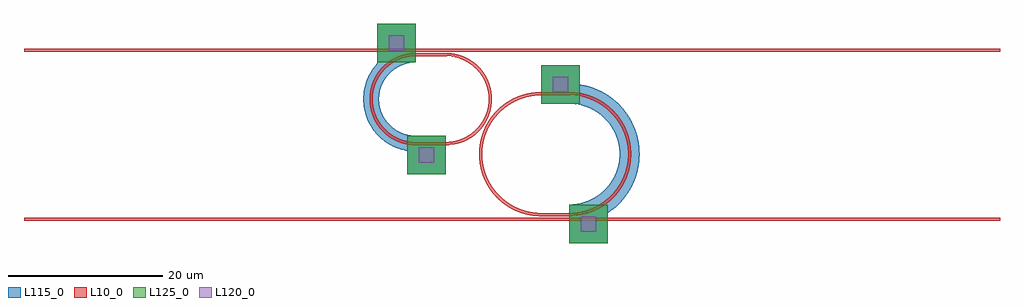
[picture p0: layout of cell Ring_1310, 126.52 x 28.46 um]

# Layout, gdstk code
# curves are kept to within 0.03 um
from math import pi, radians
import gdstk
lib = gdstk.Library(unit=1e-6, precision=1e-09)
def R(c, l, rs):  # rectangles x0, y0, x1, y1
    for r in rs: c.add(gdstk.rectangle(r[:2], r[2:], *l))
def P(c, l, *ps):  # polygons
    for p in ps: c.add(gdstk.Polygon(p, *l))
L10_0 = (10, 0)
L115_0 = (115, 0)
L120_0 = (120, 0)
L125_0 = (125, 0)

unnamed_7 = lib.new_cell('Unnamed_7')
P(unnamed_7, L115_0, [(5.595,-13.31),(5.018,-13.278),(4.353,-13.17),(3.506,-12.931),(3.028,-12.744),(2.37,-12.403),(1.821,-12.042),(1.337,-11.675),(0.874,-11.239),(0.164,-10.355),(-0.245,-9.671),(-0.538,-9.031),(-0.917,-7.665),(-0.989,-7.04),(-1,-6.363),(-0.965,-5.76),(-0.862,-5.132),(-0.46,-3.858),(-0.222,-3.366),(0.185,-2.694),(0.607,-2.14),(1.048,-1.666),(1.529,-1.249),(2.071,-0.869),(2.611,-0.54),(3.183,-0.27),(4.507,0.122),(5.1,0.206),(5.77,0.23),(5.77,-1.771),(4.808,-1.876),(3.958,-2.134),(3.123,-2.572),(2.425,-3.154),(1.832,-3.849),(1.408,-4.624),(1.121,-5.503),(1.002,-6.504),(1.049,-7.168),(1.196,-7.882),(1.408,-8.456),(1.653,-8.94),(1.918,-9.35),(2.425,-9.926),(3.012,-10.43),(3.402,-10.676),(4.357,-11.096),(5.385,-11.288),(9.675,-11.309),(9.675,-13.31)])

bend_circular_gdsfactory = lib.new_cell('bend_circular_gdsfactorypcomponentspbendspbend_circular_1a474e33')
P(bend_circular_gdsfactory, L10_0, [(2.98,0.608),(2.98,1.053),(3.512,1.433),(4.012,1.891),(4.439,2.388),(4.808,2.937),(5.132,3.578),(5.376,4.273),(5.525,4.985),(5.579,5.695),(5.96,5.696),(5.898,4.909),(5.737,4.153),(5.476,3.416),(5.143,2.757),(4.714,2.122),(4.163,1.504),(3.585,1.008)],
  [(5.58,5.696),(5.551,6.343),(5.446,6.988),(5.272,7.6),(5.017,8.214),(4.627,8.89),(4.15,9.501),(3.593,10.04),(2.98,10.487),(2.98,10.932),(3.719,10.428),(4.353,9.842),(4.911,9.148),(5.35,8.398),(5.737,7.387),(5.938,6.287),(5.96,5.696)],
  [(2.979,10.488),(2.288,10.86),(1.543,11.133),(0.771,11.297),(0,11.35),(0,11.73),(1.132,11.622),(1.71,11.48),(2.295,11.271),(2.98,10.932)],
  [(0,-0.19),(0,0.19),(0.771,0.243),(1.543,0.407),(2.288,0.68),(2.98,1.052),(2.98,0.608),(2.295,0.269),(1.207,-0.067),(0.602,-0.16)])

unnamed_8 = lib.new_cell('Unnamed_8')
R(unnamed_8, L10_0, [(5.77,-12.5,9.675,-12.12), (5.77,-0.96,9.675,-0.58)])
unnamed_8.add(gdstk.Reference(bend_circular_gdsfactory, (5.77,-12.31), rotation=pi, x_reflection=True))
unnamed_8.add(gdstk.Reference(bend_circular_gdsfactory, (9.675,-12.31)))

unnamed_16 = lib.new_cell('Unnamed_16')
P(unnamed_16, L115_0, [(25.67,-22.79),(25.67,-20.225),(26.993,-20.091),(28.22,-19.709),(28.968,-19.332),(29.424,-19.042),(30.244,-18.354),(30.993,-17.493),(31.64,-16.373),(31.869,-15.783),(32.071,-15.073),(32.177,-14.406),(32.222,-13.716),(32.099,-12.407),(31.769,-11.28),(31.538,-10.756),(31.128,-10.053),(30.703,-9.479),(30.244,-8.992),(29.424,-8.304),(28.968,-8.014),(28.22,-7.637),(26.993,-7.255),(25.67,-7.121),(25.67,-4.556),(25.864,-4.556),(26.824,-4.624),(27.863,-4.818),(28.633,-5.04),(29.449,-5.37),(30.13,-5.71),(30.805,-6.133),(31.617,-6.752),(32.27,-7.367),(32.828,-8.024),(33.407,-8.834),(33.777,-9.482),(34.182,-10.381),(34.464,-11.238),(34.67,-12.197),(34.766,-12.978),(34.787,-13.869),(34.727,-14.764),(34.574,-15.64),(34.374,-16.418),(34.102,-17.161),(33.702,-18.007),(33.253,-18.742),(32.57,-19.645),(32.054,-20.198),(31.461,-20.722),(30.596,-21.354),(29.89,-21.765),(29.03,-22.158),(28.127,-22.461),(27.262,-22.652),(26.488,-22.759)])

c_bend_circular_gdsfactory = lib.new_cell('bend_circular_gdsfactorypcomponentspbendspbend_circular_3701bcca')
P(c_bend_circular_gdsfactory, L10_0, [(0,-0.19),(0,0.19),(0.968,0.251),(1.941,0.44),(2.876,0.751),(3.778,1.188),(4.588,1.719),(5.288,2.313),(5.943,3.025),(6.48,3.779),(6.924,3.779),(6.344,2.92),(5.669,2.154),(4.87,1.456),(3.982,0.867),(3.039,0.407),(2.051,0.076),(1.031,-0.124)],
  [(6.48,3.779),(6.984,4.724),(7.335,5.678),(7.562,6.708),(7.644,7.747),(8.025,7.748),(7.984,7.02),(7.877,6.298),(7.715,5.624),(7.481,4.929),(6.926,3.781)],
  [(7.645,7.748),(7.581,8.826),(7.367,9.88),(7.013,10.88),(6.534,11.804),(6.977,11.801),(7.409,10.92),(7.748,9.927),(7.96,8.858),(8.025,7.748)],
  [(6.534,11.804),(6.059,12.498),(5.458,13.189),(4.805,13.782),(4.04,14.326),(3.084,14.831),(2.063,15.197),(1.036,15.41),(0,15.48),(0,15.86),(1.12,15.782),(2.197,15.554),(3.257,15.17),(4.242,14.648),(5.32,13.844),(6.232,12.892),(6.975,11.804)])

unnamed_17 = lib.new_cell('Unnamed_17')
R(unnamed_17, L10_0, [(22.029,-21.698,25.67,-21.318), (22.029,-6.028,25.67,-5.648)])
unnamed_17.add(gdstk.Reference(c_bend_circular_gdsfactory, (22.029,-21.508), rotation=pi, x_reflection=True))
unnamed_17.add(gdstk.Reference(c_bend_circular_gdsfactory, (25.67,-21.508)))

ring_1310 = lib.new_cell('Ring_1310')
R(ring_1310, L10_0, [(-45,-22.278,81.518,-21.898), (-45,-0.38,81.518,0)])
R(ring_1310, L115_0, [(25.67,-25.225,30.67,-20.225), (4.675,-16.31,9.675,-11.31), (22.029,-7.12,25.67,-4.555), (22.029,-7.12,27.029,-2.12), (0.77,-2.77,1.77,-1.77), (0.77,-1.77,5.77,3.23)])
R(ring_1310, L120_0, [(27.17,-23.725,29.17,-21.725), (6.175,-14.81,8.175,-12.81), (23.529,-5.62,25.529,-3.62), (2.27,-0.27,4.27,1.73)])
R(ring_1310, L125_0, [(25.67,-25.225,30.67,-20.225), (4.675,-16.31,9.675,-11.31), (22.029,-7.12,27.029,-2.12), (0.77,-1.77,5.77,3.23)])
ring_1310.add(gdstk.Reference(unnamed_7, (0,0)))
ring_1310.add(gdstk.Reference(unnamed_8, (0,0)))
ring_1310.add(gdstk.Reference(unnamed_16, (0,0)))
ring_1310.add(gdstk.Reference(unnamed_17, (0,0)))

lib.write_gds('Ring_1310.gds')
